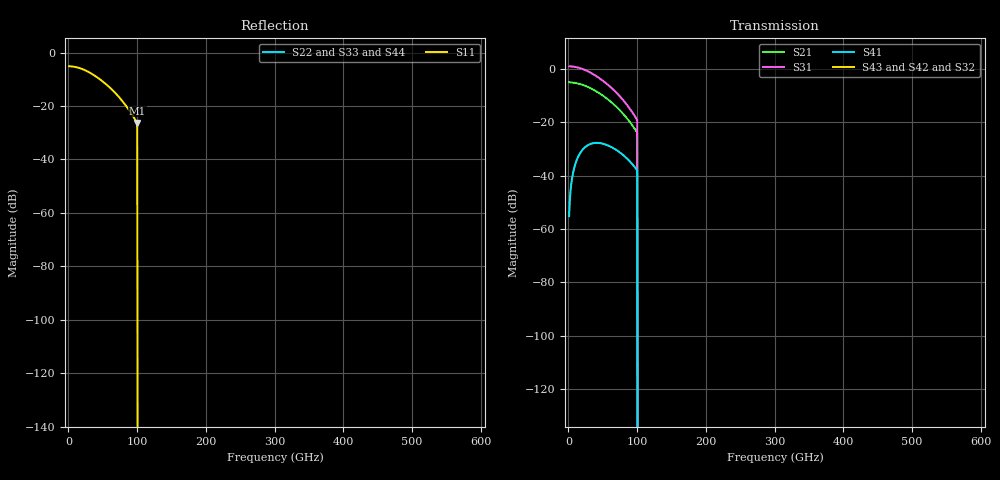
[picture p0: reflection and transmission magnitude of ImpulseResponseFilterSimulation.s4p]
! File created by SignalIntegrity v1.1.17: Signal and Power Integrity Tools
! https://github.com/TeledyneLeCroy/SignalIntegrity
# MHz S MA R 50.0
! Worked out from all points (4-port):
!   600 points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, 1 GHz to 600 GHz, reference 50 ohm
!   strongest paths, dB at 1 GHz, 151 GHz, 301 GHz, 451 GHz, 600 GHz:
!     S43: -, -, -, -, -
!     S42: -, -, -, -, -
!     S41: -55.2, -, -, -, -
!     S32: -, -, -, -, -
!     S31: 1.0, -, -, -, -
!     S21: -5.0, -, -, -, -
!   lowest |S11| = -26.3 dB at 100 GHz (marker M1), VSWR 1.10, Z = 45.4 + j0.19 ohm
!   |S11| at or under -10 dB: 45.91 GHz to end of sweep
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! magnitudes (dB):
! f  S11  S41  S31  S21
! 1 GHz  -5.1  -55.2  1.0  -5.0
! 10 GHz  -5.4  -35.7  0.7  -5.3
! 28 GHz  -7.1  -28.7  -0.9  -6.8
! 97 GHz  -25.0  -37.0  -17.9  -22.7
! 100 GHz  -26.3  -38.0  -19.1  -23.9
! 104 GHz  -  -  -  -
! 600 GHz  -  -  -  -
